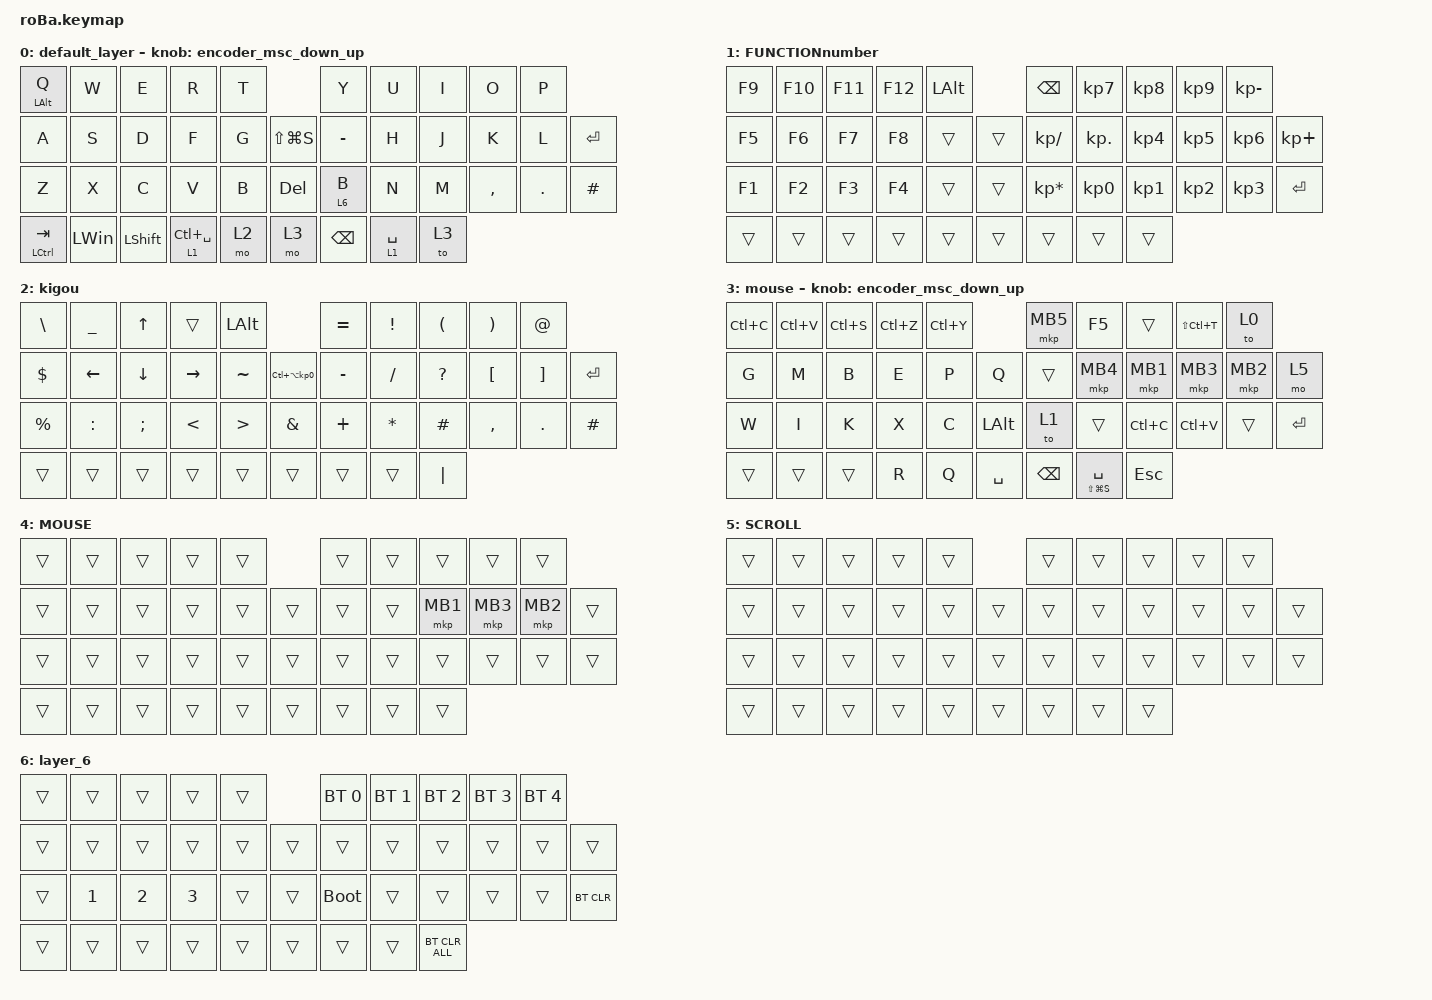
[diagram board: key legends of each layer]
#include <behaviors.dtsi>
#include <dt-bindings/zmk/bt.h>
#include <dt-bindings/zmk/keys.h>
#define ZMK_POINTING_DEFAULT_SCRL_VAL 80
#include <dt-bindings/zmk/pointing.h>

&mt {
    flavor = "balanced";
    quick-tap-ms = <0>;
};

&trackball {
    automouse-layer = <4>;
    scroll-layers = <5>;

    // arrows {
    //     layers = <3>;
    //     bindings =
    //         <&kp RIGHT_ARROW>,
    //         <&kp LEFT_ARROW>,
    //         <&kp UP_ARROW>,
    //         <&kp DOWN_ARROW>;
    //     tick = <10>;
    //     wait-ms = <5>;
    //     tap-ms = <5>;
    // };
};

/ {
    runtime_combo_defaults {
        compatible = "cormoran,runtime-combo-defaults";

        esc {
            slot = <0>;
            bindings = <&kp ESCAPE>;
            key-positions = <0 1>;
        };

        mouse1 {
            slot = <1>;
            bindings = <&mkp MB1>;
            key-positions = <18 19>;
        };

        mouse2 {
            slot = <2>;
            bindings = <&mkp MB2>;
            key-positions = <19 20>;
        };

        mouse3 {
            slot = <3>;
            bindings = <&mkp MB3>;
            key-positions = <18 19 20>;
        };

        mouse4 {
            slot = <4>;
            bindings = <&mkp MB4>;
            key-positions = <5 7 6>;
        };

        mouse5 {
            slot = <5>;
            bindings = <&mkp MB5>;
            key-positions = <6 7 8>;
        };

        to0 {
            slot = <6>;
            bindings = <&to 0>;
            key-positions = <37 39>;
        };

        scroll {
            slot = <7>;
            bindings = <&mo 5>;
            key-positions = <20 21>;
        };

        to3 {
            slot = <8>;
            bindings = <&to 3>;
            key-positions = <29 30 31 32>;
        };
    };

    macros {
        to_layer_0: to_layer_0 {
            compatible = "zmk,behavior-macro-one-param";
            #binding-cells = <1>;
            bindings = <&to 0 &macro_param_1to1 &kp MACRO_PLACEHOLDER>;
            label = "TO_LAYER_0";
        };
    };

    behaviors {
        lt_to_layer_0: lt_to_layer_0 {
            compatible = "zmk,behavior-hold-tap";
            label = "LAYER_TAP_TO_0";
            bindings = <&mo>, <&to_layer_0>;

            #binding-cells = <2>;
            tapping-term-ms = <200>;
        };

        encoder_msc_down_up: encoder_msc_down_up {
            compatible = "zmk,behavior-sensor-rotate";
            label = "ENCODER_MSC_DOWN_UP";
            #sensor-binding-cells = <0>;
            bindings = <&msc SCRL_DOWN>, <&msc SCRL_UP>;
            tap-ms = <20>;
        };
    };

    keymap {
        compatible = "zmk,keymap";

        default_layer {
            bindings = <
            &mt LEFT_ALT Q  &kp W  &kp E  &kp R  &kp T  &kp Y  &kp U  &kp I  &kp O  &kp P
            &kp A  &kp S  &kp D  &kp F  &kp G  &kp LS(LG(S))  &kp MINUS  &kp H  &kp J  &kp K  &kp L  &kp ENTER
            &kp Z  &kp X  &kp C  &kp V  &kp B  &kp DEL  &lt 6 B  &kp N  &kp M  &kp COMMA  &kp DOT  &kp HASH
            &mt LCTRL TAB  &kp LEFT_WIN  &kp LEFT_SHIFT  &lt_to_layer_0 1 LC(SPACE)  &mo 2  &mo 3  &kp BACKSPACE  &lt 1 SPACE  &to 3
            >;

            sensor-bindings = <&encoder_msc_down_up>;
        };

        FUNCTIONnumber {
            bindings = <
            &kp F9  &kp F10  &kp F11  &kp F12  &kp LEFT_ALT  &kp BACKSPACE  &kp KP_N7  &kp KP_N8  &kp KP_N9  &kp KP_MINUS
            &kp F5  &kp F6  &kp F7  &kp F8  &trans  &trans  &kp KP_SLASH  &kp KP_DOT  &kp KP_N4  &kp KP_N5  &kp KP_N6  &kp KP_PLUS
            &kp F1  &kp F2  &kp F3  &kp F4  &trans  &trans  &kp KP_MULTIPLY  &kp KP_N0  &kp KP_N1  &kp KP_N2  &kp KP_N3  &kp ENTER
            &trans  &trans  &trans  &trans  &trans  &trans  &trans  &trans  &trans
            >;
        };

        kigou {
            bindings = <
            &kp BACKSLASH  &kp UNDERSCORE  &kp UP_ARROW  &trans  &kp LEFT_ALT  &kp EQUAL  &kp EXCLAMATION  &kp LEFT_PARENTHESIS  &kp RIGHT_PARENTHESIS  &kp AT_SIGN
            &kp DOLLAR  &kp LEFT_ARROW  &kp DOWN_ARROW  &kp RIGHT_ARROW  &kp TILDE  &kp LC(LA(KP_NUMBER_0))  &kp MINUS  &kp SLASH  &kp QUESTION  &kp LEFT_BRACKET  &kp RIGHT_BRACKET  &kp ENTER
            &kp PERCENT  &kp COLON  &kp SEMICOLON  &kp LESS_THAN  &kp GREATER_THAN  &kp AMPERSAND  &kp PLUS  &kp ASTERISK  &kp HASH  &kp COMMA  &kp PERIOD  &kp HASH
            &trans  &trans  &trans  &trans  &trans  &trans  &trans  &trans  &kp PIPE
            >;
        };

        mouse {
            bindings = <
            &kp LC(C)  &kp LC(V)  &kp LC(S)  &kp LC(Z)  &kp LC(Y)  &mkp MB5  &kp F5  &trans  &kp LS(LC(T))  &to 0
            &kp G  &kp M  &kp B  &kp E  &kp P  &kp Q  &trans  &mkp MB4  &mkp MB1  &mkp MB3  &mkp MB2  &mo 5
            &kp W  &kp I  &kp K  &kp X  &kp C  &kp LEFT_ALT  &to 1  &trans  &kp LC(C)  &kp LC(V)  &trans  &kp ENTER
            &trans  &trans  &trans  &kp R  &kp Q  &kp SPACE  &kp BACKSPACE  &mt LS(LG(S)) SPACE  &kp ESCAPE
            >;

            sensor-bindings = <&encoder_msc_down_up>;
        };

        auto_mouse {
            display-name = "MOUSE";
            bindings = <
            &trans  &trans  &trans  &trans  &trans  &trans  &trans  &trans  &trans  &trans
            &trans  &trans  &trans  &trans  &trans  &trans  &trans  &trans  &mkp MB1  &mkp MB3  &mkp MB2  &trans
            &trans  &trans  &trans  &trans  &trans  &trans  &trans  &trans  &trans  &trans  &trans  &trans
            &trans  &trans  &trans  &trans  &trans  &trans  &trans  &trans  &trans
            >;
        };

        SCROLL {
            bindings = <
            &trans  &trans  &trans  &trans  &trans  &trans  &trans  &trans  &trans  &trans
            &trans  &trans  &trans  &trans  &trans  &trans  &trans  &trans  &trans  &trans  &trans  &trans
            &trans  &trans  &trans  &trans  &trans  &trans  &trans  &trans  &trans  &trans  &trans  &trans
            &trans  &trans  &trans  &trans  &trans  &trans  &trans  &trans  &trans
            >;
        };

        layer_6 {
            bindings = <
            &trans  &trans  &trans  &trans  &trans  &bt BT_SEL 0  &bt BT_SEL 1  &bt BT_SEL 2  &bt BT_SEL 3  &bt BT_SEL 4
            &trans  &trans  &trans  &trans  &trans  &trans  &trans  &trans  &trans  &trans  &trans  &trans
            &trans  &kp NUMBER_1  &kp NUMBER_2  &kp NUMBER_3  &trans  &trans  &bootloader  &trans  &trans  &trans  &trans  &bt BT_CLR
            &trans  &trans  &trans  &trans  &trans  &trans  &trans  &trans  &bt BT_CLR_ALL
            >;
        };
    };
};
